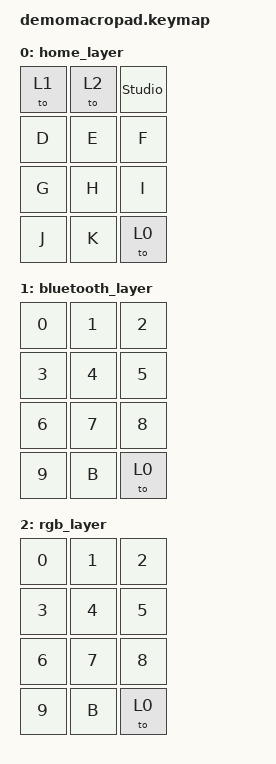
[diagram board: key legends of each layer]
/*
 * Copyright (c) 2021 Nick Winans
 *
 * SPDX-License-Identifier: MIT
 */

#include <behaviors.dtsi>
#include <dt-bindings/zmk/keys.h>
#include <dt-bindings/zmk/rgb.h>
#include <dt-bindings/zmk/bt.h>

/ {
    keymap {
        compatible = "zmk,keymap";

        home_layer {
// ----------------------------------------------
// |  Bluetooth Layer  |  RGB Layer  |  Studio  |
// |  D  |  E  |  F  |
// |  G  |  H  |  I  |
// |  J  |  K  |  Home  |
// -------------------
            bindings = <
    &to 1 &to 2 &studio_unlock
    &kp D &kp E &kp F
    &kp G &kp H &kp I
    &kp J &kp K &to 0
            >;

        };

        bluetooth_layer {
            bindings = <
            &kp 0 &kp 1 &kp 2
            &kp 3 &kp 4 &kp 5
            &kp 6 &kp 7 &kp 8
            &kp 9 &kp B &to 0
            >;
            };

        rgb_layer {
            bindings = <
            &kp 0 &kp 1 &kp 2
            &kp 3 &kp 4 &kp 5
            &kp 6 &kp 7 &kp 8
            &kp 9 &kp B &to 0
            >;
        };
    };
};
